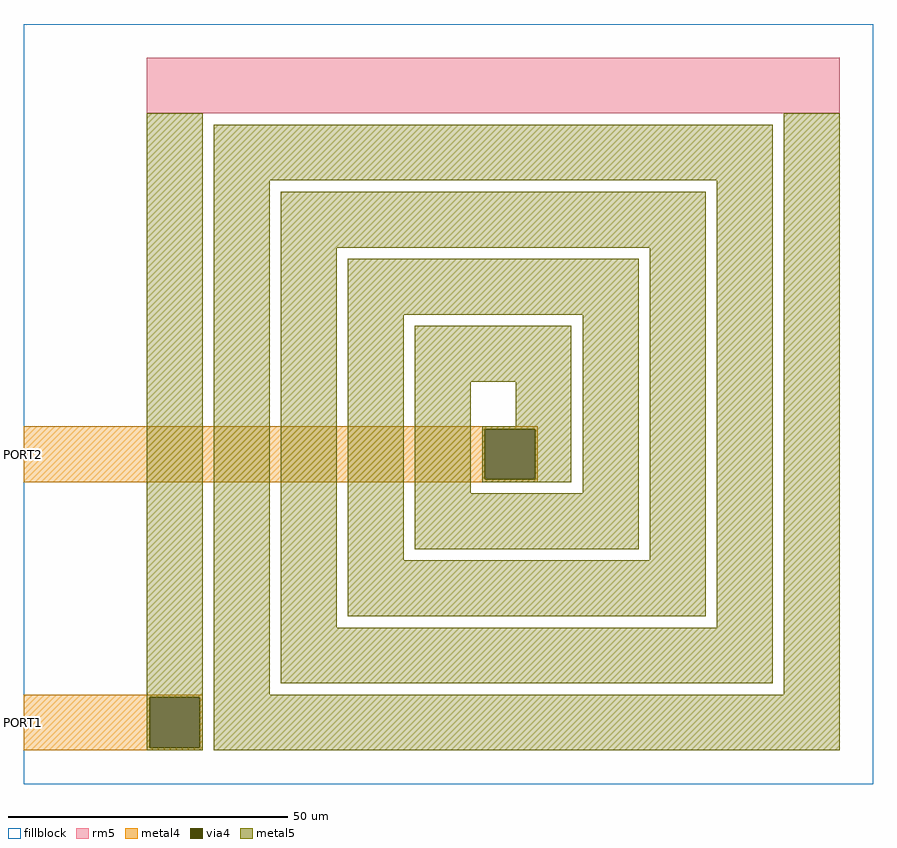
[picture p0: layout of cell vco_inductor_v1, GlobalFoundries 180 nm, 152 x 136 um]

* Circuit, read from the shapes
.subckt vco_inductor_v1 PORT1 PORT2
R1 PORT1 PORT2 VSUBS res_generic_m5 r_width=10u r_length=124u
.ends

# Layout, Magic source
magic
tech gf180mcuD
<< metal4 >>
rect -3080 -1690 -1240 -1680
rect -3080 -1870 -1430 -1690
rect -1250 -1870 -1240 -1690
rect -3080 -1880 -1240 -1870
rect -3080 -2650 -2440 -2640
rect -3080 -2830 -2630 -2650
rect -2450 -2830 -2440 -2650
rect -3080 -2840 -2440 -2830
<< via4 >>
rect -1430 -1870 -1250 -1690
rect -2630 -2830 -2450 -2650
<< metal5 >>
rect -2640 -2650 -2440 -560
rect -2640 -2830 -2630 -2650
rect -2450 -2830 -2440 -2650
rect -2640 -2840 -2440 -2830
rect -2400 -800 -400 -600
rect -2400 -2640 -2200 -800
rect -2160 -1040 -640 -840
rect -2160 -2400 -1960 -1040
rect -1920 -1280 -880 -1080
rect -1920 -2160 -1720 -1280
rect -1680 -1520 -1120 -1320
rect -1680 -1920 -1480 -1520
rect -1320 -1680 -1120 -1520
rect -1440 -1690 -1120 -1680
rect -1440 -1870 -1430 -1690
rect -1250 -1870 -1120 -1690
rect -1440 -1880 -1120 -1870
rect -1080 -1920 -880 -1280
rect -1680 -2120 -880 -1920
rect -840 -2160 -640 -1040
rect -1920 -2360 -640 -2160
rect -600 -2400 -400 -800
rect -2160 -2600 -400 -2400
rect -360 -2640 -160 -560
rect -2400 -2840 -160 -2640
<< rm5 >>
rect -2640 -560 -160 -360
<< fillblock >>
rect -3080 -2960 -40 -240
<< labels >>
rlabel metal4 -3080 -2740 -3080 -2740 7 PORT1
port 1 w
rlabel metal4 -3080 -1780 -3080 -1780 7 PORT2
port 2 w
<< end >>
